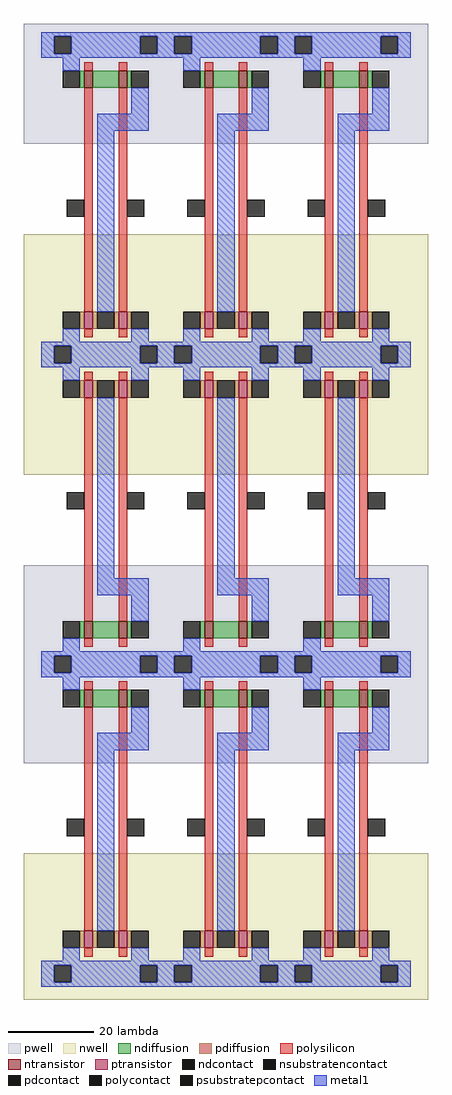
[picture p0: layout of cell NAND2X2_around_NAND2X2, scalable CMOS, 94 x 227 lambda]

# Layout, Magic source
magic
tech scmos
use NAND2X2  NAND2X2_5
transform 1 0 -48 0 -1 68
box -25 -36 13 47
use NAND2X2  NAND2X2_3
transform 1 0 -20 0 -1 68
box -25 -36 13 47
use NAND2X2  NAND2X2_4
transform 1 0 8 0 -1 68
box -25 -36 13 47
use NAND2X2  NAND2X2_2
transform 1 0 -48 0 1 -14
box -25 -36 13 47
use NAND2X2  NAND2X2_0
transform 1 0 -20 0 1 -14
box -25 -36 13 47
use NAND2X2  NAND2X2_1
transform 1 0 8 0 1 -14
box -25 -36 13 47
use NAND2X2  NAND2X2_6
transform 1 0 -48 0 -1 -76
box -25 -36 13 47
use NAND2X2  NAND2X2_7
transform 1 0 -20 0 -1 -76
box -25 -36 13 47
use NAND2X2  NAND2X2_8
transform 1 0 8 0 -1 -76
box -25 -36 13 47
<< end >>

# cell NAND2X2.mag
magic
tech scmos
<< nwell >>
rect -25 13 13 47
<< pwell >>
rect -25 -36 13 -8
<< ntransistor >>
rect -11 -25 -9 -21
rect -3 -25 -1 -21
<< ptransistor >>
rect -11 31 -9 35
rect -3 31 -1 35
<< ndiffusion >>
rect -12 -25 -11 -21
rect -9 -25 -3 -21
rect -1 -25 0 -21
<< pdiffusion >>
rect -12 31 -11 35
rect -9 31 -8 35
rect -4 31 -3 35
rect -1 31 0 35
<< ndcontact >>
rect -16 -25 -12 -21
rect 0 -25 4 -21
<< pdcontact >>
rect -16 31 -12 35
rect -8 31 -4 35
rect 0 31 4 35
<< psubstratepcontact >>
rect -18 -33 -14 -29
rect 2 -33 6 -29
<< nsubstratencontact >>
rect -18 39 -14 43
rect 2 39 6 43
<< polysilicon >>
rect -11 35 -9 37
rect -3 35 -1 37
rect -11 -21 -9 31
rect -3 -21 -1 31
rect -11 -27 -9 -25
rect -3 -27 -1 -25
<< polycontact >>
rect -15 5 -11 9
rect -1 5 3 9
<< metal1 >>
rect -21 43 9 44
rect -21 39 -18 43
rect -14 39 2 43
rect 6 39 9 43
rect -21 38 9 39
rect -16 35 -12 38
rect 0 35 4 38
rect -8 -11 -4 31
rect -8 -15 4 -11
rect 0 -21 4 -15
rect -16 -28 -12 -25
rect -21 -29 9 -28
rect -21 -33 -18 -29
rect -14 -33 2 -29
rect 6 -33 9 -29
rect -21 -34 9 -33
<< labels >>
rlabel nsubstratencontact -16 41 -16 41 1 +VDD
rlabel nsubstratencontact 4 41 4 41 1 +VDD
rlabel metal1 2 -13 2 -13 1 Z
rlabel psubstratepcontact -16 -31 -16 -31 1 GND
rlabel psubstratepcontact 4 -31 4 -31 1 GND
rlabel polycontact -13 7 -13 7 1 A
rlabel polycontact 1 7 1 7 1 B
<< end >>
